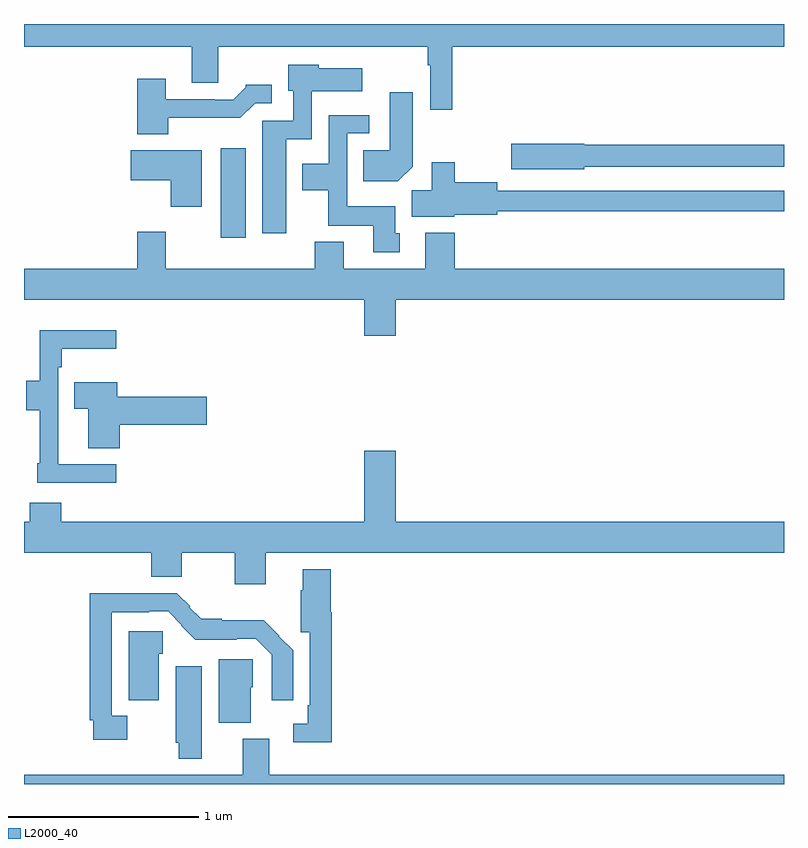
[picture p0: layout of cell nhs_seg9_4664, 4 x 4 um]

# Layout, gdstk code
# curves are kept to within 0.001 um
import gdstk
lib = gdstk.Library(unit=1e-6, precision=1e-09)
def R(c, l, rs):  # rectangles x0, y0, x1, y1
    for r in rs: c.add(gdstk.rectangle(r[:2], r[2:], *l))
def P(c, l, *ps):  # polygons
    for p in ps: c.add(gdstk.Polygon(p, *l))
L2000_40 = (2000, 40)

nhs_seg9_4664 = lib.new_cell('nhs_seg9_4664')
R(nhs_seg9_4664, L2000_40, [(380.036,1235.376,380.167,1235.845)])
P(nhs_seg9_4664, L2000_40, [(381.254,1236.38),(383,1236.38),(383,1236.5),(379,1236.5),(379,1236.38),(379.883,1236.38),(379.883,1236.19),(380.023,1236.19),(380.023,1236.38),(381.126,1236.38),(381.126,1236.284),(381.138,1236.284),(381.138,1236.048),(381.254,1236.048)],
  [(380.38,1235.894),(380.514,1235.894),(380.514,1236.146),(380.779,1236.146),(380.779,1236.268),(380.55,1236.268),(380.55,1236.286),(380.39,1236.286),(380.39,1236.15),(380.418,1236.15),(380.418,1235.991),(380.255,1235.991),(380.255,1235.4),(380.38,1235.4)],
  [(379.76,1236.006),(380.139,1236.006),(380.217,1236.084),(380.305,1236.084),(380.305,1236.181),(380.166,1236.181),(380.166,1236.166),(380.102,1236.102),(380.003,1236.102),(380.003,1236.105),(379.747,1236.105),(379.747,1236.211),(379.595,1236.211),(379.595,1235.921),(379.76,1235.921)],
  [(381.046,1235.75),(381.046,1236.142),(380.924,1236.142),(380.924,1235.836),(380.785,1235.836),(380.785,1235.672),(380.968,1235.672)],
  [(380.977,1235.4),(380.953,1235.4),(380.953,1235.542),(380.7,1235.542),(380.7,1235.925),(380.818,1235.925),(380.818,1236.021),(380.604,1236.021),(380.604,1235.764),(380.465,1235.764),(380.465,1235.624),(380.602,1235.624),(380.602,1235.438),(380.837,1235.438),(380.837,1235.298),(380.977,1235.298)],
  [(381.948,1235.748),(383,1235.748),(383,1235.864),(381.948,1235.864),(381.948,1235.87),(381.564,1235.87),(381.564,1235.735),(381.948,1235.735)],
  [(379.936,1235.836),(379.563,1235.836),(379.563,1235.678),(379.772,1235.678),(379.772,1235.538),(379.936,1235.538)],
  [(381.264,1235.495),(381.49,1235.495),(381.49,1235.514),(383,1235.514),(383,1235.622),(381.49,1235.622),(381.49,1235.666),(381.268,1235.666),(381.268,1235.773),(381.146,1235.773),(381.146,1235.624),(381.041,1235.624),(381.041,1235.486),(381.264,1235.486)],
  [(380.956,1235.048),(383,1235.048),(383,1235.212),(381.266,1235.212),(381.266,1235.401),(381.113,1235.401),(381.113,1235.212),(380.683,1235.212),(380.683,1235.353),(380.531,1235.353),(380.531,1235.212),(379.747,1235.212),(379.747,1235.407),(379.595,1235.407),(379.595,1235.212),(379,1235.212),(379,1235.048),(380.792,1235.048),(380.792,1234.86),(380.956,1234.86)],
  [(379.486,1234.182),(379.18,1234.182),(379.18,1234.379),(379.179,1234.379),(379.179,1234.694),(379.199,1234.694),(379.199,1234.79),(379.486,1234.79),(379.486,1234.888),(379.083,1234.888),(379.083,1234.623),(379.013,1234.623),(379.013,1234.468),(379.083,1234.468),(379.083,1234.189),(379.071,1234.189),(379.071,1234.086),(379.486,1234.086)],
  [(379.505,1234.391),(379.963,1234.391),(379.963,1234.538),(379.492,1234.538),(379.492,1234.615),(379.264,1234.615),(379.264,1234.475),(379.337,1234.475),(379.337,1234.267),(379.505,1234.267)],
  [(380.272,1233.716),(383,1233.716),(383,1233.88),(380.956,1233.88),(380.956,1234.255),(380.792,1234.255),(380.792,1233.88),(379.196,1233.88),(379.196,1233.979),(379.031,1233.979),(379.031,1233.88),(379,1233.88),(379,1233.716),(379.67,1233.716),(379.67,1233.59),(379.831,1233.59),(379.831,1233.716),(380.108,1233.716),(380.108,1233.552),(380.272,1233.552)],
  [(380.621,1233.403),(380.615,1233.403),(380.615,1233.631),(380.468,1233.631),(380.468,1233.521),(380.456,1233.521),(380.456,1233.3),(380.505,1233.3),(380.505,1232.914),(380.493,1232.914),(380.493,1232.817),(380.418,1232.817),(380.418,1232.72),(380.621,1232.72)],
  [(379.544,1232.86),(379.461,1232.86),(379.461,1233.404),(379.658,1233.404),(379.658,1233.408),(379.758,1233.408),(379.83,1233.336),(379.827,1233.333),(379.901,1233.26),(380.12,1233.26),(380.12,1233.264),(380.22,1233.264),(380.304,1233.18),(380.304,1232.94),(380.416,1232.94),(380.416,1233.204),(380.261,1233.361),(380.041,1233.361),(380.041,1233.369),(379.933,1233.369),(379.871,1233.431),(379.875,1233.435),(379.805,1233.505),(379.345,1233.505),(379.345,1232.836),(379.365,1232.836),(379.365,1232.732),(379.544,1232.732)],
  [(379.708,1233.186),(379.731,1233.186),(379.731,1233.303),(379.55,1233.303),(379.55,1232.941),(379.708,1232.941)],
  [(380.194,1233.009),(380.205,1233.009),(380.205,1233.156),(380.024,1233.156),(380.024,1232.822),(380.194,1232.822)],
  [(379.936,1233.121),(379.799,1233.121),(379.799,1232.718),(379.814,1232.718),(379.814,1232.633),(379.936,1232.633)],
  [(383,1232.548),(380.29,1232.548),(380.29,1232.737),(380.15,1232.737),(380.15,1232.548),(379,1232.548),(379,1232.5),(383,1232.5)])

lib.write_gds('nhs_seg9_4664.gds')
